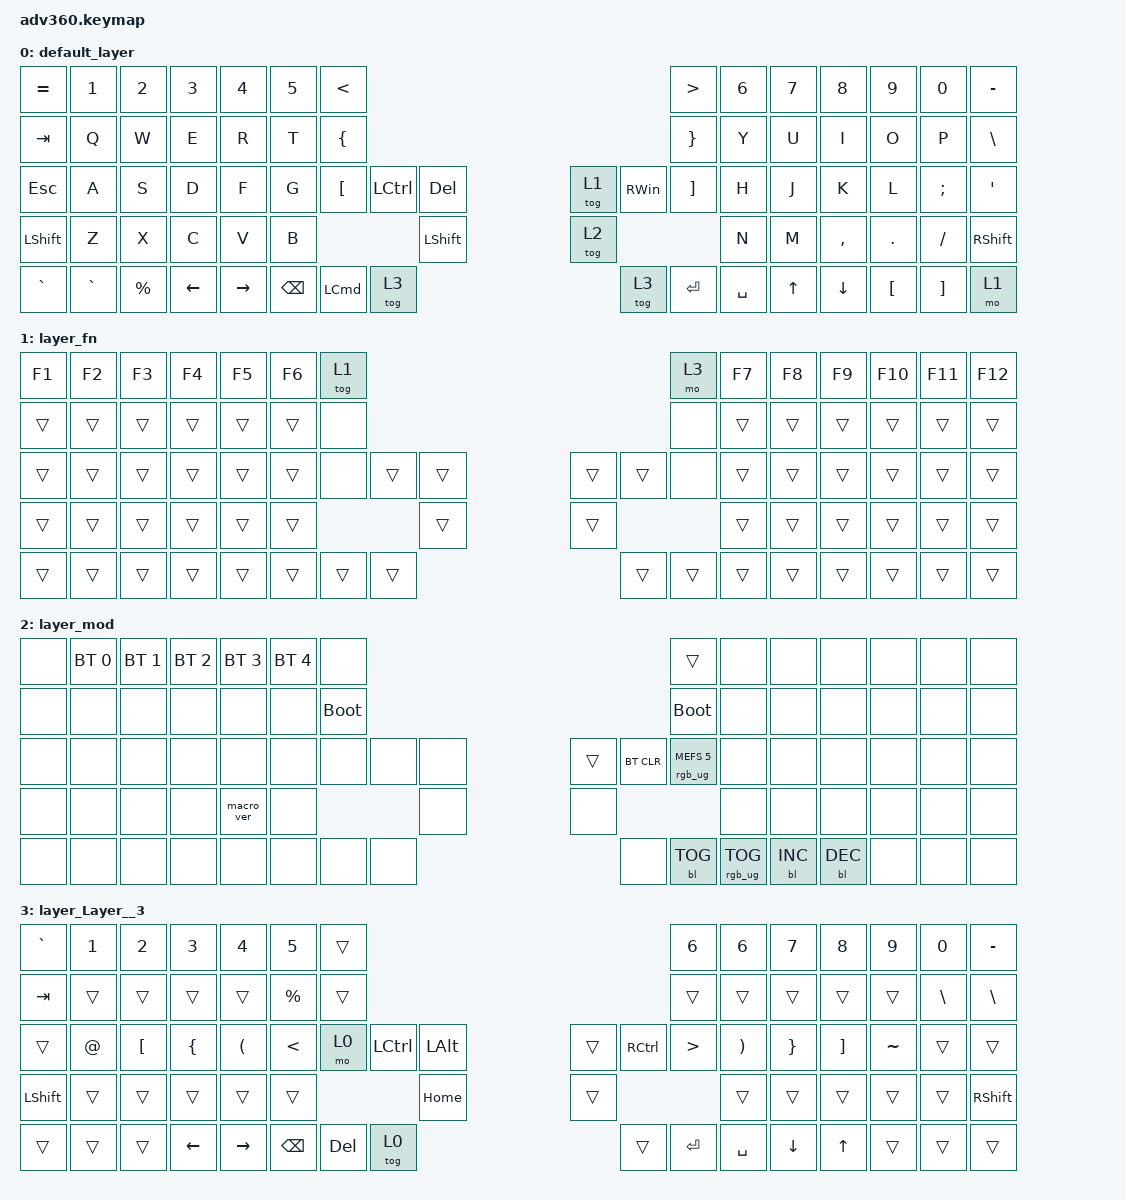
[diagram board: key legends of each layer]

/*
 * Copyright (c) 2020 The ZMK Contributors
 *
 * SPDX-License-Identifier: MIT
 */


/* THIS FILE WAS GENERATED!
 *
 * This file was generated automatically. You may or may not want to
 * edit it directly.
 */

#include <behaviors.dtsi>
#include <dt-bindings/zmk/keys.h>
#include <dt-bindings/zmk/bt.h>
#include <dt-bindings/zmk/rgb.h>
#include <dt-bindings/zmk/backlight.h>

/ {
  behaviors {
    #include "macros.dtsi"
    #include "version.dtsi"

    hm: homerow_mods {
        compatible = "zmk,behavior-hold-tap";
        label = "HOMEROW_MODS";
        #binding-cells = <2>;
        tapping-term-ms = <200>;
        quick_tap_ms = <175>;
        flavor = "tap-preferred";
        bindings = <&kp>, <&kp>;
    };
  };

    keymap {
        compatible = "zmk,keymap";


        default_layer {
            bindings = <
 &kp EQUAL  &kp NUMBER_1  &kp NUMBER_2  &kp NUMBER_3  &kp NUMBER_4  &kp NUMBER_5               &kp LESS_THAN                                                                        &kp GREATER_THAN  &kp NUMBER_6  &kp NUMBER_7  &kp NUMBER_8  &kp NUMBER_9       &kp NUMBER_0  &kp MINUS
   &kp TAB         &kp Q         &kp W         &kp E         &kp R         &kp T              &kp LEFT_BRACE                                                                         &kp RIGHT_BRACE         &kp Y         &kp U         &kp I         &kp O              &kp P   &kp BSLH
   &kp ESC         &kp A         &kp S         &kp D         &kp F         &kp G            &kp LEFT_BRACKET         &kp LCTRL     &kp DEL                  &tog 1  &kp RIGHT_WIN  &kp RIGHT_BRACKET         &kp H         &kp J         &kp K         &kp L           &kp SEMI    &kp SQT
 &kp LSHFT         &kp Z         &kp X         &kp C         &kp V         &kp B                                                &kp LSHIFT                  &tog 2                                           &kp N         &kp M     &kp COMMA       &kp DOT           &kp FSLH  &kp RSHFT
 &kp GRAVE     &kp GRAVE   &kp PERCENT      &kp LEFT     &kp RIGHT                             &kp BACKSPACE  &kp LEFT_COMMAND      &tog 3                  &tog 3      &kp ENTER          &kp SPACE                      &kp UP      &kp DOWN      &kp LBKT  &kp RIGHT_BRACKET      &mo 1
            >;
        };

        layer_fn {
            bindings = <
 &kp F1  &kp F2  &kp F3  &kp F4  &kp F5  &kp F6            &tog 1                                                   &mo 3  &kp F7  &kp F8  &kp F9  &kp F10  &kp F11  &kp F12
 &trans  &trans  &trans  &trans  &trans  &trans             &none                                                   &none  &trans  &trans  &trans   &trans   &trans   &trans
 &trans  &trans  &trans  &trans  &trans  &trans             &none  &trans  &trans                  &trans  &trans   &none  &trans  &trans  &trans   &trans   &trans   &trans
 &trans  &trans  &trans  &trans  &trans  &trans                            &trans                  &trans                  &trans  &trans  &trans   &trans   &trans   &trans
 &trans  &trans  &trans  &trans  &trans                    &trans  &trans  &trans                  &trans  &trans  &trans          &trans  &trans   &trans   &trans   &trans
            >;
        };

        layer_mod {
            bindings = <
  &none  &bt BT_SEL 0  &bt BT_SEL 1  &bt BT_SEL 2  &bt BT_SEL 3  &bt BT_SEL 4                  &none                                                                      &trans   &none       &none       &none   &none   &none   &none
  &none         &none         &none         &none         &none         &none            &bootloader                                                                 &bootloader   &none       &none       &none   &none   &none   &none
  &none         &none         &none         &none         &none         &none                  &none   &none   &none                  &trans  &bt BT_CLR  &rgb_ug RGB_MEFS_CMD 5   &none       &none       &none   &none   &none   &none
  &none         &none         &none         &none    &macro_ver         &none                                  &none                   &none                                       &none       &none       &none   &none   &none   &none
  &none         &none         &none         &none         &none                                &none   &none   &none                   &none  &bl BL_TOG         &rgb_ug RGB_TOG          &bl BL_INC  &bl BL_DEC   &none   &none   &none
            >;
        };

        layer_Layer__3 {
            bindings = <
      &kp GRAVE  &kp NUMBER_1      &kp NUMBER_2    &kp NUMBER_3          &kp NUMBER_4   &kp NUMBER_5                   &trans                                                                  &kp NUMBER_6           &kp NUMBER_6     &kp NUMBER_7       &kp NUMBER_8  &kp NUMBER_9   &kp NUMBER_0      &kp MINUS
        &kp TAB        &trans            &trans          &trans                &trans    &kp PERCENT                   &trans                                                                        &trans                 &trans           &trans             &trans        &trans  &kp BACKSLASH  &kp BACKSLASH
         &trans   &kp AT_SIGN  &kp LEFT_BRACKET  &kp LEFT_BRACE  &kp LEFT_PARENTHESIS  &kp LESS_THAN                    &mo 0  &kp LCTRL  &kp LEFT_ALT                  &trans  &kp RCTRL  &kp GREATER_THAN  &kp RIGHT_PARENTHESIS  &kp RIGHT_BRACE  &kp RIGHT_BRACKET     &kp TILDE         &trans         &trans
 &kp LEFT_SHIFT        &trans            &trans          &trans                &trans         &trans                                          &kp HOME                  &trans                                              &trans           &trans             &trans        &trans         &trans      &kp RSHFT
         &trans        &trans            &trans  &kp LEFT_ARROW       &kp RIGHT_ARROW                           &kp BACKSPACE    &kp DEL        &tog 0                  &trans  &kp ENTER         &kp SPACE                          &kp DOWN_ARROW       &kp UP_ARROW        &trans         &trans         &trans
            >;
        };

    };
};
